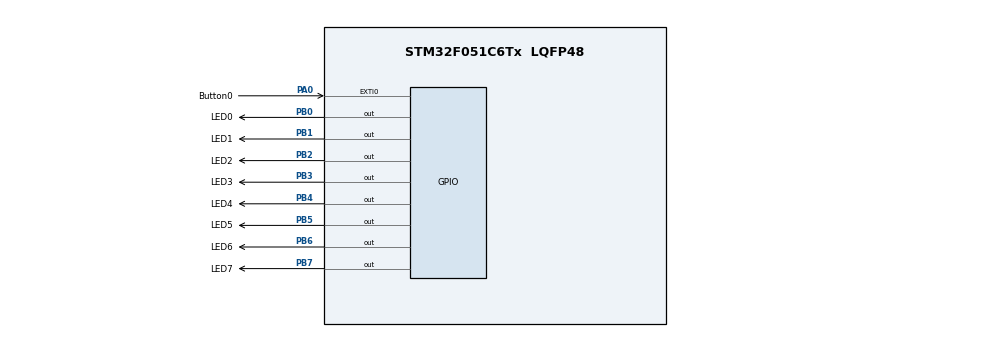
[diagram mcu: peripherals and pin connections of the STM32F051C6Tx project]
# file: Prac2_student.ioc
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Mcu.Family=STM32F0
Mcu.Name=STM32F051C6Tx
Mcu.Package=LQFP48
PA0.GPIO_Label=Button0
PA0.GPIO_PuPd=GPIO_PULLUP
PA0.Signal=GPXTI0
PA13.Mode=Serial_Wire
PA13.Signal=SYS_SWDIO
PA14.Mode=Serial_Wire
PA14.Signal=SYS_SWCLK
PB0.GPIO_Label=LED0
PB0.Signal=GPIO_Output
PB1.GPIO_Label=LED1
PB1.Signal=GPIO_Output
PB2.GPIO_Label=LED2
PB2.Signal=GPIO_Output
PB3.GPIO_Label=LED3
PB3.Signal=GPIO_Output
PB4.GPIO_Label=LED4
PB4.Signal=GPIO_Output
PB5.GPIO_Label=LED5
PB5.Signal=GPIO_Output
PB6.GPIO_Label=LED6
PB6.Signal=GPIO_Output
PB7.GPIO_Label=LED7
PB7.Signal=GPIO_Output
PF0-OSC_IN.Mode=HSE-External-Oscillator
PF0-OSC_IN.Signal=RCC_OSC_IN
PF1-OSC_OUT.Mode=HSE-External-Oscillator
PF1-OSC_OUT.Signal=RCC_OSC_OUT
ProjectManager.HeapSize=0x200
ProjectManager.StackSize=0x400
ProjectManager.TargetToolchain=STM32CubeIDE
TIM16.AutoReloadPreload=TIM_AUTORELOAD_PRELOAD_ENABLE
TIM16.Period=1000-1
TIM16.Prescaler=8000-1
VP_TIM16_VS_ClockSourceINT.Mode=Enable_Timer
board=custom

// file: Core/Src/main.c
/* USER CODE BEGIN Header */
/**
  ******************************************************************************
  * @file           : main.c
  * @brief          : Main program body
  ******************************************************************************
  * @attention
  *
  * Copyright (c) 2023 STMicroelectronics.
  * All rights reserved.
  *
  * This software is licensed under terms that can be found in the LICENSE file
  * in the root directory of this software component.
  * If no LICENSE file comes with this software, it is provided AS-IS.
  *
  ******************************************************************************
  */
/* USER CODE END Header */
#include "main.h"

/* USER CODE BEGIN Includes */
#include <stdint.h>
#include "stm32f0xx.h"
/* USER CODE END Includes */

/* USER CODE BEGIN PD */

// Definitions for SPI usage
#define MEM_SIZE 8192 // bytes
#define WREN 0b00000110 // enable writing
#define WRDI 0b00000100 // disable writing
#define RDSR 0b00000101 // read status register
#define WRSR 0b00000001 // write status register
#define READ 0b00000011
#define WRITE 0b00000010
/* USER CODE END PD */

TIM_HandleTypeDef htim16;

/* USER CODE BEGIN PV */
// TODO: Define any input variables
static uint8_t patterns[] = {0b10101010, 0b01010101, 0b11001100, 0b00110011, 0b11110000, 0b00001111};
static uint8_t count = 0;

/* USER CODE END PV */

void SystemClock_Config(void);
static void MX_GPIO_Init(void);
static void MX_TIM16_Init(void);
/* USER CODE BEGIN PFP */
void EXTI0_1_IRQHandler(void);
void TIM16_IRQHandler(void);
static void init_spi(void);
static void write_to_address(uint16_t address, uint8_t data);
static uint8_t read_from_address(uint16_t address);
static void delay(uint32_t delay_in_us);
/* USER CODE END PFP */

int main(void)
{

  /* MCU Configuration--------------------------------------------------------*/

  /* Reset of all peripherals, Initializes the Flash interface and the Systick. */
  HAL_Init();

  /* Configure the system clock */
  SystemClock_Config();

  /* USER CODE BEGIN SysInit */
  init_spi();
  /* USER CODE END SysInit */

  /* Initialize all configured peripherals */
  MX_GPIO_Init();
  MX_TIM16_Init();
  /* USER CODE BEGIN 2 */

  // TODO: Start timer TIM16
  HAL_TIM_Base_Start_IT(&htim16);

  // TODO: Write all "patterns" to EEPROM using SPI
  for (uint32_t i = 0; i <= 5; i++)
  {
	  write_to_address(i, patterns[i]);
  }
  /* USER CODE END 2 */

  /* Infinite loop */
  while (1)
  {

    /* USER CODE BEGIN 3 */

	// TODO: Check button PA0; if pressed, change timer delay
	if (HAL_GPIO_ReadPin(Button0_GPIO_Port, Button0_Pin)==1)
	{

	}
//
  }
  /* USER CODE END 3 */
}

void SystemClock_Config(void)
{
  LL_FLASH_SetLatency(LL_FLASH_LATENCY_0);
  while(LL_FLASH_GetLatency() != LL_FLASH_LATENCY_0)
  {
  }
  LL_RCC_HSI_Enable();

   /* Wait till HSI is ready */
  while(LL_RCC_HSI_IsReady() != 1)
  {

  }
  LL_RCC_HSI_SetCalibTrimming(16);
  LL_RCC_SetAHBPrescaler(LL_RCC_SYSCLK_DIV_1);
  LL_RCC_SetAPB1Prescaler(LL_RCC_APB1_DIV_1);
  LL_RCC_SetSysClkSource(LL_RCC_SYS_CLKSOURCE_HSI);

   /* Wait till System clock is ready */
  while(LL_RCC_GetSysClkSource() != LL_RCC_SYS_CLKSOURCE_STATUS_HSI)
  {

  }
  LL_SetSystemCoreClock(8000000);

   /* Update the time base */
  if (HAL_InitTick (TICK_INT_PRIORITY) != HAL_OK)
  {
    Error_Handler();
  }
}

static void MX_TIM16_Init(void)
{

  htim16.Instance = TIM16;
  htim16.Init.Prescaler = 8000-1;
  htim16.Init.CounterMode = TIM_COUNTERMODE_UP;
  htim16.Init.Period = 1000-1;
  htim16.Init.ClockDivision = TIM_CLOCKDIVISION_DIV1;
  htim16.Init.RepetitionCounter = 0;
  htim16.Init.AutoReloadPreload = TIM_AUTORELOAD_PRELOAD_ENABLE;
  if (HAL_TIM_Base_Init(&htim16) != HAL_OK)
  {
    Error_Handler();
  }
  /* USER CODE BEGIN TIM16_Init 2 */
  NVIC_EnableIRQ(TIM16_IRQn);
  /* USER CODE END TIM16_Init 2 */

}

static void MX_GPIO_Init(void)
{
  LL_EXTI_InitTypeDef EXTI_InitStruct = {0};
  LL_GPIO_InitTypeDef GPIO_InitStruct = {0};

  /* GPIO Ports Clock Enable */
  LL_AHB1_GRP1_EnableClock(LL_AHB1_GRP1_PERIPH_GPIOF);
  LL_AHB1_GRP1_EnableClock(LL_AHB1_GRP1_PERIPH_GPIOA);
  LL_AHB1_GRP1_EnableClock(LL_AHB1_GRP1_PERIPH_GPIOB);

  /**/
  LL_GPIO_ResetOutputPin(LED0_GPIO_Port, LED0_Pin);

  /**/
  LL_GPIO_ResetOutputPin(LED1_GPIO_Port, LED1_Pin);

  /**/
  LL_GPIO_ResetOutputPin(LED2_GPIO_Port, LED2_Pin);

  /**/
  LL_GPIO_ResetOutputPin(LED3_GPIO_Port, LED3_Pin);

  /**/
  LL_GPIO_ResetOutputPin(LED4_GPIO_Port, LED4_Pin);

  /**/
  LL_GPIO_ResetOutputPin(LED5_GPIO_Port, LED5_Pin);

  /**/
  LL_GPIO_ResetOutputPin(LED6_GPIO_Port, LED6_Pin);

  /**/
  LL_GPIO_ResetOutputPin(LED7_GPIO_Port, LED7_Pin);

  /**/
  LL_SYSCFG_SetEXTISource(LL_SYSCFG_EXTI_PORTA, LL_SYSCFG_EXTI_LINE0);

  /**/
  LL_GPIO_SetPinPull(Button0_GPIO_Port, Button0_Pin, LL_GPIO_PULL_UP);

  /**/
  LL_GPIO_SetPinMode(Button0_GPIO_Port, Button0_Pin, LL_GPIO_MODE_INPUT);

  /**/
  EXTI_InitStruct.Line_0_31 = LL_EXTI_LINE_0;
  EXTI_InitStruct.LineCommand = ENABLE;
  EXTI_InitStruct.Mode = LL_EXTI_MODE_IT;
  EXTI_InitStruct.Trigger = LL_EXTI_TRIGGER_RISING;
  LL_EXTI_Init(&EXTI_InitStruct);

  /**/
  GPIO_InitStruct.Pin = LED0_Pin;
  GPIO_InitStruct.Mode = LL_GPIO_MODE_OUTPUT;
  GPIO_InitStruct.Speed = LL_GPIO_SPEED_FREQ_LOW;
  GPIO_InitStruct.OutputType = LL_GPIO_OUTPUT_PUSHPULL;
  GPIO_InitStruct.Pull = LL_GPIO_PULL_NO;
  LL_GPIO_Init(LED0_GPIO_Port, &GPIO_InitStruct);

  /**/
  GPIO_InitStruct.Pin = LED1_Pin;
  GPIO_InitStruct.Mode = LL_GPIO_MODE_OUTPUT;
  GPIO_InitStruct.Speed = LL_GPIO_SPEED_FREQ_LOW;
  GPIO_InitStruct.OutputType = LL_GPIO_OUTPUT_PUSHPULL;
  GPIO_InitStruct.Pull = LL_GPIO_PULL_NO;
  LL_GPIO_Init(LED1_GPIO_Port, &GPIO_InitStruct);

  /**/
  GPIO_InitStruct.Pin = LED2_Pin;
  GPIO_InitStruct.Mode = LL_GPIO_MODE_OUTPUT;
  GPIO_InitStruct.Speed = LL_GPIO_SPEED_FREQ_LOW;
  GPIO_InitStruct.OutputType = LL_GPIO_OUTPUT_PUSHPULL;
  GPIO_InitStruct.Pull = LL_GPIO_PULL_NO;
  LL_GPIO_Init(LED2_GPIO_Port, &GPIO_InitStruct);

  /**/
  GPIO_InitStruct.Pin = LED3_Pin;
  GPIO_InitStruct.Mode = LL_GPIO_MODE_OUTPUT;
  GPIO_InitStruct.Speed = LL_GPIO_SPEED_FREQ_LOW;
  GPIO_InitStruct.OutputType = LL_GPIO_OUTPUT_PUSHPULL;
  GPIO_InitStruct.Pull = LL_GPIO_PULL_NO;
  LL_GPIO_Init(LED3_GPIO_Port, &GPIO_InitStruct);

  /**/
  GPIO_InitStruct.Pin = LED4_Pin;
  GPIO_InitStruct.Mode = LL_GPIO_MODE_OUTPUT;
  GPIO_InitStruct.Speed = LL_GPIO_SPEED_FREQ_LOW;
  GPIO_InitStruct.OutputType = LL_GPIO_OUTPUT_PUSHPULL;
  GPIO_InitStruct.Pull = LL_GPIO_PULL_NO;
  LL_GPIO_Init(LED4_GPIO_Port, &GPIO_InitStruct);

  /**/
  GPIO_InitStruct.Pin = LED5_Pin;
  GPIO_InitStruct.Mode = LL_GPIO_MODE_OUTPUT;
  GPIO_InitStruct.Speed = LL_GPIO_SPEED_FREQ_LOW;
  GPIO_InitStruct.OutputType = LL_GPIO_OUTPUT_PUSHPULL;
  GPIO_InitStruct.Pull = LL_GPIO_PULL_NO;
  LL_GPIO_Init(LED5_GPIO_Port, &GPIO_InitStruct);

  /**/
  GPIO_InitStruct.Pin = LED6_Pin;
  GPIO_InitStruct.Mode = LL_GPIO_MODE_OUTPUT;
  GPIO_InitStruct.Speed = LL_GPIO_SPEED_FREQ_LOW;
  GPIO_InitStruct.OutputType = LL_GPIO_OUTPUT_PUSHPULL;
  GPIO_InitStruct.Pull = LL_GPIO_PULL_NO;
  LL_GPIO_Init(LED6_GPIO_Port, &GPIO_InitStruct);

  /**/
  GPIO_InitStruct.Pin = LED7_Pin;
  GPIO_InitStruct.Mode = LL_GPIO_MODE_OUTPUT;
  GPIO_InitStruct.Speed = LL_GPIO_SPEED_FREQ_LOW;
  GPIO_InitStruct.OutputType = LL_GPIO_OUTPUT_PUSHPULL;
  GPIO_InitStruct.Pull = LL_GPIO_PULL_NO;
  LL_GPIO_Init(LED7_GPIO_Port, &GPIO_InitStruct);

}

/* USER CODE BEGIN 4 */

// Initialise SPI
static void init_spi(void) {

  // Clock to PB
  RCC->AHBENR |= RCC_AHBENR_GPIOBEN; 	// Enable clock for SPI port

  // Set pin modes
  GPIOB->MODER |= GPIO_MODER_MODER13_1; // Set pin SCK (PB13) to Alternate Function
  GPIOB->MODER |= GPIO_MODER_MODER14_1; // Set pin MISO (PB14) to Alternate Function
  GPIOB->MODER |= GPIO_MODER_MODER15_1; // Set pin MOSI (PB15) to Alternate Function
  GPIOB->MODER |= GPIO_MODER_MODER12_0; // Set pin CS (PB12) to output push-pull
  GPIOB->BSRR |= GPIO_BSRR_BS_12; 		// Pull CS high

  // Clock enable to SPI
  RCC->APB1ENR |= RCC_APB1ENR_SPI2EN;
  SPI2->CR1 |= SPI_CR1_BIDIOE; 									// Enable output
  SPI2->CR1 |= (SPI_CR1_BR_0 |  SPI_CR1_BR_1); 					// Set Baud to fpclk / 16
  SPI2->CR1 |= SPI_CR1_MSTR; 									// Set to master mode
  SPI2->CR2 |= SPI_CR2_FRXTH; 									// Set RX threshold to be 8 bits
  SPI2->CR2 |= SPI_CR2_SSOE; 									// Enable slave output to work in master mode
  SPI2->CR2 |= (SPI_CR2_DS_0 | SPI_CR2_DS_1 | SPI_CR2_DS_2); 	// Set to 8-bit mode
  SPI2->CR1 |= SPI_CR1_SPE; 									// Enable the SPI peripheral
}

// Implements a delay in microseconds
static void delay(uint32_t delay_in_us) {
  volatile uint32_t counter = 0;
  delay_in_us *= 3;
  for(; counter < delay_in_us; counter++) {
    __asm("nop");
    __asm("nop");
  }
}

// Write to EEPROM address using SPI
static void write_to_address(uint16_t address, uint8_t data) {

	uint8_t dummy; // Junk from the DR

	// Set the Write Enable latch
	GPIOB->BSRR |= GPIO_BSRR_BR_12; // Pull CS low
	delay(1);
	*((uint8_t*)(&SPI2->DR)) = WREN;
	while ((SPI2->SR & SPI_SR_RXNE) == 0); // Hang while RX is empty
	dummy = SPI2->DR;
	GPIOB->BSRR |= GPIO_BSRR_BS_12; // Pull CS high
	delay(5000);

	// Send write instruction
	GPIOB->BSRR |= GPIO_BSRR_BR_12; 			// Pull CS low
	delay(1);
	*((uint8_t*)(&SPI2->DR)) = WRITE;
	while ((SPI2->SR & SPI_SR_RXNE) == 0); 		// Hang while RX is empty
	dummy = SPI2->DR;

	// Send 16-bit address
	*((uint8_t*)(&SPI2->DR)) = (address >> 8); 	// Address MSB
	while ((SPI2->SR & SPI_SR_RXNE) == 0); 		// Hang while RX is empty
	dummy = SPI2->DR;
	*((uint8_t*)(&SPI2->DR)) = (address); 		// Address LSB
	while ((SPI2->SR & SPI_SR_RXNE) == 0); 		// Hang while RX is empty
	dummy = SPI2->DR;

	// Send the data
	*((uint8_t*)(&SPI2->DR)) = data;
	while ((SPI2->SR & SPI_SR_RXNE) == 0); // Hang while RX is empty
	dummy = SPI2->DR;
	GPIOB->BSRR |= GPIO_BSRR_BS_12; // Pull CS high
	delay(5000);
}

// Read from EEPROM address using SPI
static uint8_t read_from_address(uint16_t address) {

	uint8_t dummy; // Junk from the DR

	// Send the read instruction
	GPIOB->BSRR |= GPIO_BSRR_BR_12; 			// Pull CS low
	delay(1);
	*((uint8_t*)(&SPI2->DR)) = READ;
	while ((SPI2->SR & SPI_SR_RXNE) == 0); 		// Hang while RX is empty
	dummy = SPI2->DR;

	// Send 16-bit address
	*((uint8_t*)(&SPI2->DR)) = (address >> 8); 	// Address MSB
	while ((SPI2->SR & SPI_SR_RXNE) == 0);		// Hang while RX is empty
	dummy = SPI2->DR;
	*((uint8_t*)(&SPI2->DR)) = (address); 		// Address LSB
	while ((SPI2->SR & SPI_SR_RXNE) == 0); 		// Hang while RX is empty
	dummy = SPI2->DR;

	// Clock in the data
	*((uint8_t*)(&SPI2->DR)) = 0x42; 			    // Clock out some junk data
	while ((SPI2->SR & SPI_SR_RXNE) == 0); 		// Hang while RX is empty
	dummy = SPI2->DR;
	GPIOB->BSRR |= GPIO_BSRR_BS_12; 			    // Pull CS high
	delay(5000);

	return dummy;								              // Return read data
}

// Timer rolled over
void TIM16_IRQHandler(void)
{
	// Acknowledge interrupt
	HAL_TIM_IRQHandler(&htim16);

	// TODO: Change to next LED pattern; output 0x01 if the read SPI data is incorrect
	LL_GPIO_ResetOutputPin(LED0_GPIO_Port, LED0_Pin);
    LL_GPIO_ResetOutputPin(LED1_GPIO_Port, LED1_Pin);
    LL_GPIO_ResetOutputPin(LED2_GPIO_Port, LED2_Pin);
    LL_GPIO_ResetOutputPin(LED3_GPIO_Port, LED3_Pin);
 	LL_GPIO_ResetOutputPin(LED4_GPIO_Port, LED4_Pin);
	LL_GPIO_ResetOutputPin(LED5_GPIO_Port, LED5_Pin);
	LL_GPIO_ResetOutputPin(LED6_GPIO_Port, LED6_Pin);
	LL_GPIO_ResetOutputPin(LED7_GPIO_Port, LED7_Pin);

	uint8_t temp = read_from_address(count);

	if (temp==patterns[count])
	{
		LL_GPIO_TogglePin(GPIOB, temp);
		count++;
	}

	if (count==6)
	{
		count=0;
	}
}

/* USER CODE END 4 */

void Error_Handler(void)
{
  __disable_irq();
  while (1)
  {
  }
}
